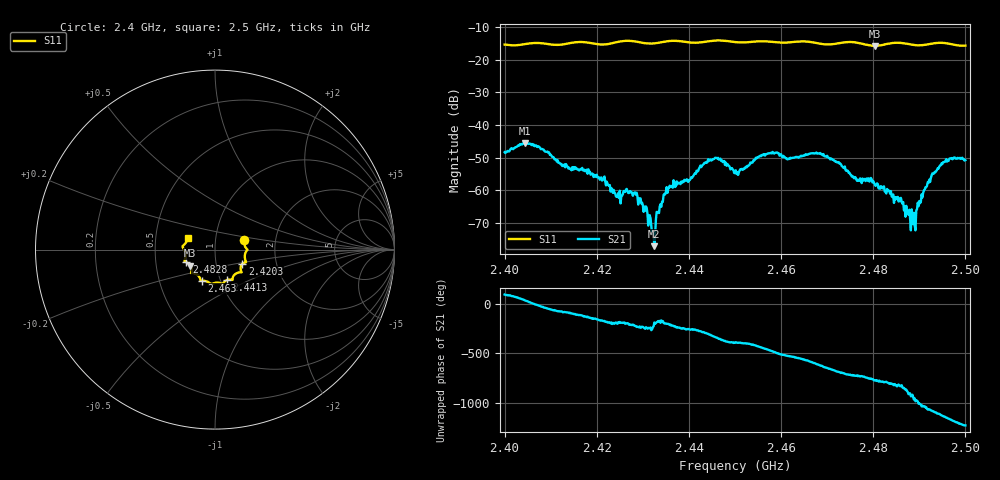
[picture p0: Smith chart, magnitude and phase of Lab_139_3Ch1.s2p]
# Hz S RI R 50
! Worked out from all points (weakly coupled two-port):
!   601 points, 2.4 GHz to 2.5 GHz, reference 50 ohm
!   highest |S21| = -45.54 dB at 2.4045 GHz (marker M1); lowest = -77.1 dB at 2.4325 GHz (marker M2)
!   lowest |S11| = -15.7 dB at 2.4803 GHz (marker M3), VSWR 1.39, Z = 37.4 - j6.81 ohm
!   |S11| at or under -10 dB: start of sweep to end of sweep
!   S12 and S22 are empty: the file has one direction only
!   S11 on the Smith chart (normalised r, x): 2.4 GHz: 1.38, +0.15; 2.4203 GHz: 1.34, -0.22; 2.4413 GHz: 1.08, -0.38; 2.463 GHz: 0.82, -0.29; 2.4828 GHz: 0.72, -0.10; 2.5 GHz: 0.73, +0.10
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2.4e9  0.1628 0.0525  -0.000183 0.00384  0 0  0 0
2.4045e9  0.174 0.00629  0.00451 0.00276  0 0  0 0
2.416667e9  0.1736 -0.0696  -0.000914 -0.00189  0 0  0 0
2.420333e9  0.1526 -0.0798  -0.00151 -0.000522  0 0  0 0
2.424667e9  0.1456 -0.1195  -0.000904 9.46e-05  0 0  0 0
2.428333e9  0.1431 -0.1263  -0.000691 0.000625  0 0  0 0
2.4325e9  0.1044 -0.1445  -0.000138 2.03e-05  0 0  0 0
2.433333e9  0.1002 -0.1517  -0.000463 -5.11e-05  0 0  0 0
2.435667e9  0.0978 -0.1669  -0.000957 0.000508  0 0  0 0
2.441333e9  0.0675 -0.1694  -0.000336 0.0018  0 0  0 0
2.445833e9  0.0421 -0.1926  0.00293 0.00119  0 0  0 0
2.45e9  0.0245 -0.1853  0.00155 -0.000995  0 0  0 0
2.457667e9  -0.0284 -0.1869  -0.00137 -0.00347  0 0  0 0
2.463e9  -0.0722 -0.1736  -0.00318 5.11e-05  0 0  0 0
2.466667e9  -0.0812 -0.1674  -0.00251 0.00272  0 0  0 0
2.480333e9  -0.1372 -0.0886  0.000819 -0.000922  0 0  0 0
2.482833e9  -0.1588 -0.0702  0.00039 -0.000806  0 0  0 0
2.483333e9  -0.1628 -0.0682  0.000201 -0.000977  0 0  0 0
2.488667e9  -0.1645 -0.0394  -0.000234 0.000193  0 0  0 0
2.493167e9  -0.1786 0.0106  0.00179 -0.000214  0 0  0 0
2.496333e9  -0.1753 0.0243  0.000692 -0.00274  0 0  0 0
2.5e9  -0.1518 0.0641  -0.00236 -0.00169  0 0  0 0
